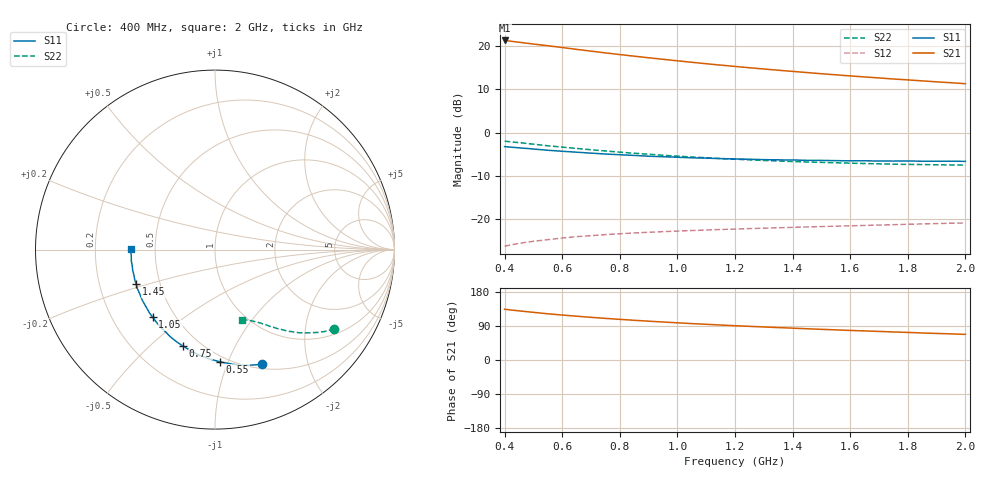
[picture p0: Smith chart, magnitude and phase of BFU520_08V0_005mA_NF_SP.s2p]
! Filename:  P:\Prog\Test\Noise\ATS_data\Testdata_Net\06 Compressed Noise after Statistics\BFU520_APG2013_37_A05_08p0V_005mA_NF_CM01_D.sf
! Date/Time: Fri 26/Apr/2013 14:13:12
! BFU520_APG2013_37_A05_08p0V_1to20mA_NF_CM01_Bias4_R.sf
! Noise Parameter Data File
! BFU520_APG2013_37_A05_08p0V_1to20mA_NF_CM01
! Date/time: Tue Apr 23 18:16:22 2013
! VAR V_out= 8.000000
! VAR I_out= 5.000000
! VAR V_in= 0.820400
! VAR I_in= 0.054600
! Device data file deembeded for feedlines and parallel
! Original file: \06 Compressed Noise after Statistics\BFU520_APG2013_37_A05_08p0V_005mA_NF_CM01_R.sf
! Feed-files: PR047V01_250413_Feed1.s2p, PR047V01_250413_Feed2.s2p
! Parallel-file: PR047V01_250413_Par.s2p
# MHz S MA R 50
!  Freq-MHz  S11-mag  S11-arg  S21-mag  S21-arg  S12-mag  S12-arg  S22-mag  S22-arg
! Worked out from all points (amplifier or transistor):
!   37 points, 400 MHz to 2 GHz, reference 50 ohm
!   highest |S21| = 21.3 dB at 400 MHz (marker M1)
!   |S21| within 3 dB of that: start of sweep to 766.8 MHz
!   unconditionally stable (mu >= 1): nowhere
!   at 500 MHz: K = 0.30, MSG = 22.8 dB, |S12| = -25.1 dB
!   at 1.1 GHz: K = 0.60, MSG = 19.2 dB, |S12| = -22.5 dB
!   at 2 GHz: K = 0.94, MSG = 16.1 dB, |S12| = -20.9 dB
!   lowest NFmin = 0.67 dB at 420 MHz
!   S11 on the Smith chart (normalised r, x): 400 MHz: 0.55, -1.34; 550 MHz: 0.46, -0.94; 750 MHz: 0.41, -0.64; 1.05 GHz: 0.38, -0.39; 1.45 GHz: 0.37, -0.18; 2 GHz: 0.36, +0.00
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400  0.69 -67.7  11.6 133.9  0.04893 56.8  0.7974 -33.5
440  0.6723 -73.3  11.18 130.5  0.05189 54.7  0.7727 -35.8
460  0.6636 -75.9  10.96 128.9  0.0533 53.7  0.7613 -36.9
500  0.6472 -81.0  10.55 125.8  0.05574 51.9  0.7363 -38.8
550  0.6262 -87.4  10.08 121.9  0.05818 49.8  0.706 -41.0
600  0.6097 -93.0  9.613 118.6  0.06076 48.1  0.6814 -43.0
650  0.595 -98.3  9.148 115.6  0.06297 46.5  0.6574 -44.8
700  0.5801 -103.4  8.731 112.5  0.06472 45.2  0.6348 -46.3
750  0.5668 -108.2  8.334 109.8  0.06648 44.0  0.6149 -47.8
800  0.5561 -112.8  7.974 107.2  0.06807 43.1  0.5954 -49.1
850  0.5457 -117.1  7.635 104.8  0.0695 42.2  0.5785 -50.3
900  0.5343 -121.3  7.32 102.4  0.07083 41.5  0.5634 -51.5
950  0.5275 -125.2  7.029 100.2  0.07195 40.8  0.5481 -52.6
1050  0.5122 -132.6  6.494 96.0  0.07413 39.8  0.5235 -54.6
1200  0.4966 -142.4  5.814 90.5  0.07708 38.9  0.4936 -57.2
1300  0.4881 -148.2  5.432 87.2  0.07895 38.5  0.4778 -58.7
1450  0.4793 -156.5  4.94 82.4  0.08158 38.3  0.4589 -60.9
1500  0.4784 -158.8  4.791 80.9  0.08237 38.3  0.4537 -61.7
1600  0.4729 -163.8  4.518 78.0  0.08402 38.3  0.4441 -63.2
1750  0.4694 -170.5  4.165 74.0  0.08657 38.5  0.4324 -65.3
1850  0.4683 -174.6  3.96 71.3  0.08844 38.7  0.4281 -66.7
2000  0.4663 179.8  3.674 67.6  0.09067 39.1  0.4214 -69.0
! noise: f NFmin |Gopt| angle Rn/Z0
400  0.7475  0.228  22.81  0.1386
460  0.6949  0.1853  31.61  0.1195
600  0.74  0.1881  30.15  0.1395
800  0.7539  0.1951  47.58  0.1206
1000  0.7805  0.1918  59.34  0.1177
1200  0.8188  0.1854  70.2  0.1163
1400  0.8444  0.2  91.23  0.1042
1600  0.854  0.1862  101.2  0.1005
1800  0.8326  0.2018  117.3  0.084
2000  0.9505  0.1984  127.9  0.0925
